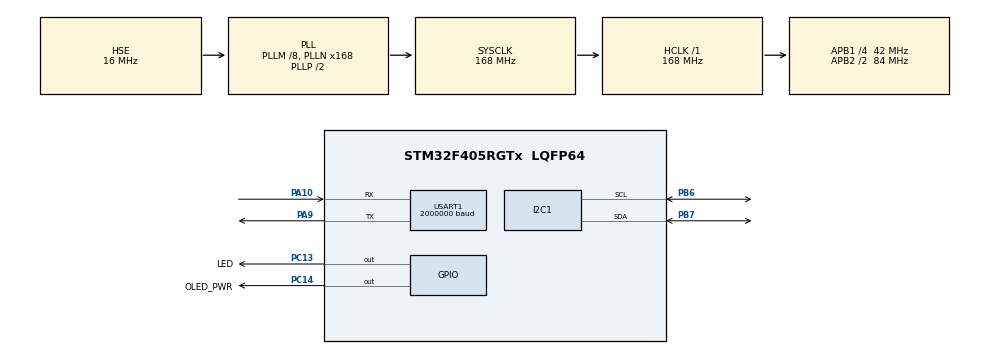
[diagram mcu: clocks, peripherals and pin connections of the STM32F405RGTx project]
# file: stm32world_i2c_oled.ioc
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Dma.I2C1_TX.0.Direction=DMA_MEMORY_TO_PERIPH
Dma.I2C1_TX.0.FIFOMode=DMA_FIFOMODE_DISABLE
Dma.I2C1_TX.0.Instance=DMA1_Stream6
Dma.I2C1_TX.0.MemDataAlignment=DMA_MDATAALIGN_BYTE
Dma.I2C1_TX.0.MemInc=DMA_MINC_ENABLE
Dma.I2C1_TX.0.Mode=DMA_NORMAL
Dma.I2C1_TX.0.PeriphDataAlignment=DMA_PDATAALIGN_BYTE
Dma.I2C1_TX.0.PeriphInc=DMA_PINC_DISABLE
Dma.I2C1_TX.0.Priority=DMA_PRIORITY_LOW
Dma.Request0=I2C1_TX
I2C1.I2C_Mode=I2C_Fast
Mcu.Family=STM32F4
Mcu.Name=STM32F405RGTx
Mcu.Package=LQFP64
NVIC.DMA1_Stream6_IRQn=true\:0\:0\:false\:false\:true\:false\:true\:true
NVIC.I2C1_EV_IRQn=true\:0\:0\:false\:false\:true\:true\:true\:true
NVIC.PriorityGroup=NVIC_PRIORITYGROUP_4
PA10.Mode=Asynchronous
PA10.Signal=USART1_RX
PA13.Mode=Trace_Asynchronous_SW
PA13.Signal=SYS_JTMS-SWDIO
PA14.Mode=Trace_Asynchronous_SW
PA14.Signal=SYS_JTCK-SWCLK
PA9.Mode=Asynchronous
PA9.Signal=USART1_TX
PB3.Mode=Trace_Asynchronous_SW
PB3.Signal=SYS_JTDO-SWO
PB6.GPIO_Pu=GPIO_PULLUP
PB6.Mode=I2C
PB6.Signal=I2C1_SCL
PB7.GPIO_Pu=GPIO_PULLUP
PB7.Mode=I2C
PB7.Signal=I2C1_SDA
PC13-ANTI_TAMP.GPIO_Label=LED
PC13-ANTI_TAMP.GPIO_ModeDefaultOutputPP=GPIO_MODE_OUTPUT_OD
PC13-ANTI_TAMP.GPIO_PuPd=GPIO_NOPULL
PC13-ANTI_TAMP.PinState=GPIO_PIN_SET
PC13-ANTI_TAMP.Signal=GPIO_Output
PC14-OSC32_IN.GPIO_Label=OLED_PWR
PC14-OSC32_IN.PinState=GPIO_PIN_RESET
PC14-OSC32_IN.Signal=GPIO_Output
PH0-OSC_IN.Mode=HSE-External-Oscillator
PH0-OSC_IN.Signal=RCC_OSC_IN
PH1-OSC_OUT.Mode=HSE-External-Oscillator
PH1-OSC_OUT.Signal=RCC_OSC_OUT
ProjectManager.HeapSize=0x200
ProjectManager.StackSize=0x400
ProjectManager.TargetToolchain=STM32CubeIDE
RCC.48MHZClocksFreq_Value=84000000
RCC.AHBFreq_Value=168000000
RCC.APB1CLKDivider=RCC_HCLK_DIV4
RCC.APB1Freq_Value=42000000
RCC.APB1TimFreq_Value=84000000
RCC.APB2CLKDivider=RCC_HCLK_DIV2
RCC.APB2Freq_Value=84000000
RCC.APB2TimFreq_Value=168000000
RCC.CortexFreq_Value=168000000
RCC.HCLKFreq_Value=168000000
RCC.HSE_VALUE=16000000
RCC.HSI_VALUE=16000000
RCC.LSE_VALUE=32768
RCC.PLLM=8
RCC.PLLN=168
RCC.PLLSourceVirtual=RCC_PLLSOURCE_HSE
RCC.SYSCLKFreq_VALUE=168000000
RCC.SYSCLKSource=RCC_SYSCLKSOURCE_PLLCLK
RCC.VCOOutputFreq_Value=336000000
USART1.BaudRate=2000000
USART1.VirtualMode=VM_ASYNC
board=custom

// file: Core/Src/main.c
/* USER CODE BEGIN Header */
/**
 ******************************************************************************
 * @file           : main.c
 * @brief          : Main program body
 ******************************************************************************
 * @attention
 *
 * Copyright (c) 2025 Lars Boegild Thomsen <lth@stm32world.com>
 * All rights reserved.
 *
 * This software is licensed under terms that can be found in the LICENSE file
 * in the root directory of this software component.
 * If no LICENSE file comes with this software, it is provided AS-IS.
 *
 ******************************************************************************
 */
/* USER CODE END Header */
#include "main.h"

/* USER CODE BEGIN Includes */
#include <stdio.h>

#include "ssd1306.h"
#include "image.h"

/* USER CODE END Includes */

I2C_HandleTypeDef hi2c1;
DMA_HandleTypeDef hdma_i2c1_tx;

UART_HandleTypeDef huart1;

/* USER CODE BEGIN PV */
extern const unsigned char stm32fan[];
extern uint8_t SSD1306_Buffer[SSD1306_BUFFER_SIZE];
/* USER CODE END PV */

void SystemClock_Config(void);
static void MX_GPIO_Init(void);
static void MX_DMA_Init(void);
static void MX_I2C1_Init(void);
static void MX_USART1_UART_Init(void);

/* USER CODE BEGIN 0 */

// Send printf to uart1
int _write(int fd, char *ptr, int len) {
    HAL_StatusTypeDef hstatus;

    if (fd == 1 || fd == 2) {
        hstatus = HAL_UART_Transmit(&huart1, (uint8_t*) ptr, len, HAL_MAX_DELAY);
        if (hstatus == HAL_OK)
            return len;
        else
            return -1;
    }
    return -1;
}

// Shift whole screen left 1 pixel
void ssd1306_ShiftLeft() {

    uint8_t pages = SSD1306_HEIGHT / 8;

    for (uint8_t page = 0; page < pages; ++page) {
        for (uint8_t column = 0; column < SSD1306_WIDTH - 1; ++column) {
            SSD1306_Buffer[page * SSD1306_WIDTH + column] = SSD1306_Buffer[page * SSD1306_WIDTH + column + 1];
        }
        SSD1306_Buffer[page * SSD1306_WIDTH + SSD1306_WIDTH - 1] = Black;
    }

}

void drawLines()
{
    for (int16_t i = 0; i < ssd1306_GetWidth(); i += 4)
            {
        ssd1306_DrawLine(0, 0, i, ssd1306_GetHeight() - 1);
        ssd1306_UpdateScreen();
        HAL_Delay(10);
    }
    for (int16_t i = 0; i < ssd1306_GetHeight(); i += 4)
            {
        ssd1306_DrawLine(0, 0, ssd1306_GetWidth() - 1, i);
        ssd1306_UpdateScreen();
        HAL_Delay(10);
    }
    HAL_Delay(500);

    ssd1306_Clear();
    for (int16_t i = 0; i < ssd1306_GetWidth(); i += 4)
            {
        ssd1306_DrawLine(0, ssd1306_GetHeight() - 1, i, 0);
        ssd1306_UpdateScreen();
        HAL_Delay(10);
    }
    for (int16_t i = ssd1306_GetHeight() - 1; i >= 0; i -= 4)
            {
        ssd1306_DrawLine(0, ssd1306_GetHeight() - 1, ssd1306_GetWidth() - 1, i);
        ssd1306_UpdateScreen();
        HAL_Delay(10);
    }
    HAL_Delay(500);
    ssd1306_Clear();
    for (int16_t i = ssd1306_GetWidth() - 1; i >= 0; i -= 4)
            {
        ssd1306_DrawLine(ssd1306_GetWidth() - 1, ssd1306_GetHeight() - 1, i, 0);
        ssd1306_UpdateScreen();
        HAL_Delay(10);
    }
    for (int16_t i = ssd1306_GetHeight() - 1; i >= 0; i -= 4)
            {
        ssd1306_DrawLine(ssd1306_GetWidth() - 1, ssd1306_GetHeight() - 1, 0, i);
        ssd1306_UpdateScreen();
        HAL_Delay(10);
    }
    HAL_Delay(500);
    ssd1306_Clear();
    for (int16_t i = 0; i < ssd1306_GetHeight(); i += 4)
            {
        ssd1306_DrawLine(ssd1306_GetWidth() - 1, 0, 0, i);
        ssd1306_UpdateScreen();
        HAL_Delay(10);
    }
    for (int16_t i = ssd1306_GetWidth(); i >= 0; i -= 4)
            {
        ssd1306_DrawLine(ssd1306_GetWidth() - 1, 0, i, ssd1306_GetHeight() - 1);
        ssd1306_UpdateScreen();
        HAL_Delay(10);
    }
    HAL_Delay(500);
}

// Adapted from Adafruit_SSD1306
void drawRect(void)
{
    for (int16_t i = 0; i < ssd1306_GetHeight() / 2; i += 2)
            {
        ssd1306_DrawRect(i, i, ssd1306_GetWidth() - 2 * i, ssd1306_GetHeight() - 2 * i);
        ssd1306_UpdateScreen();
        HAL_Delay(10);
    }
}

// Adapted from Adafruit_SSD1306
void fillRect(void) {
    uint8_t color = 1;
    for (int16_t i = 0; i < ssd1306_GetHeight() / 2; i += 3)
            {
        ssd1306_SetColor((color % 2 == 0) ? Black : White); // alternate colors
        ssd1306_FillRect(i, i, ssd1306_GetWidth() - i * 2, ssd1306_GetHeight() - i * 2);
        ssd1306_UpdateScreen();
        HAL_Delay(10);
        color++;
    }
    // Reset back to WHITE
    ssd1306_SetColor(White);
}

// Adapted from Adafruit_SSD1306
void drawCircle(void)
{
    for (int16_t i = 0; i < ssd1306_GetHeight(); i += 4)
            {
        ssd1306_DrawCircle(ssd1306_GetWidth() / 2, ssd1306_GetHeight() / 2, i);
        ssd1306_UpdateScreen();
        HAL_Delay(10);
    }
    HAL_Delay(1000);
    ssd1306_Clear();

    // This will draw the part of the circel in quadrant 1
    // Quadrants are numberd like this:
    //   0010 | 0001
    //  ------|-----
    //   0100 | 1000
    //
    ssd1306_DrawCircleQuads(ssd1306_GetWidth() / 2, ssd1306_GetHeight() / 2, ssd1306_GetHeight() / 4, 0x01 /*0b00000001*/);
    ssd1306_UpdateScreen();
    HAL_Delay(200);
    ssd1306_DrawCircleQuads(ssd1306_GetWidth() / 2, ssd1306_GetHeight() / 2, ssd1306_GetHeight() / 4, 0x03 /*0b00000011*/);
    ssd1306_UpdateScreen();
    HAL_Delay(200);
    ssd1306_DrawCircleQuads(ssd1306_GetWidth() / 2, ssd1306_GetHeight() / 2, ssd1306_GetHeight() / 4, 0x07 /*0b00000111*/);
    ssd1306_UpdateScreen();
    HAL_Delay(200);
    ssd1306_DrawCircleQuads(ssd1306_GetWidth() / 2, ssd1306_GetHeight() / 2, ssd1306_GetHeight() / 4, 0x0F /*0b00001111*/);
    ssd1306_UpdateScreen();
}

void drawProgressBarDemo(int counter)
{
    char str[128];
    // draw the progress bar
    ssd1306_DrawProgressBar(0, 32, 120, 10, counter);

    // draw the percentage as String
    ssd1306_SetCursor(55, 15);
    sprintf(str, "%i%%", counter);
    ssd1306_WriteString(str, Font_7x10);
    ssd1306_UpdateScreen();
}

/* USER CODE END 0 */

int main(void)
{

    /* MCU Configuration--------------------------------------------------------*/

    /* Reset of all peripherals, Initializes the Flash interface and the Systick. */
    HAL_Init();

    /* Configure the system clock */
    SystemClock_Config();

    /* Initialize all configured peripherals */
    MX_GPIO_Init();
    MX_DMA_Init();
    MX_I2C1_Init();
    MX_USART1_UART_Init();
    /* USER CODE BEGIN 2 */

    printf("\n\n\n--------\nStarting\n");

    // Switch power off for 100 ms
    HAL_GPIO_WritePin(OLED_PWR_GPIO_Port, OLED_PWR_Pin, GPIO_PIN_RESET);
    HAL_Delay(100);
    HAL_GPIO_WritePin(OLED_PWR_GPIO_Port, OLED_PWR_Pin, GPIO_PIN_SET);
    HAL_Delay(200);

    printf("Scan i2c1\n");
    // Go through all possible i2c addresses
    for (uint8_t i = 0; i < 128; i++) {

        if (HAL_I2C_IsDeviceReady(&hi2c1, (uint16_t) (i << 1), 3, 5) == HAL_OK) {
            // We got an ack
            printf("%2x ", i);
        } else {
            printf("-- ");
        }

        if (i > 0 && (i + 1) % 16 == 0)
            printf("\n");

    }

    printf("\n");

    // Init lcd using one of the stm32HAL i2c typedefs
//    if (ssd1306_init(&ssd1306, &hi2c1, SSD1306_DEFAULT_ADDR) != SSD1306_Ok) {
//        printf("Unable to initialize ssd1306 - halting\n");
//        Error_Handler();
//    }

    ssd1306_Init();
    ssd1306_FlipScreenVertically();
    ssd1306_Clear();
    ssd1306_SetColor(White);

    //ssd1306_TestAll();

    /* USER CODE END 2 */

    /* Infinite loop */
    /* USER CODE BEGIN WHILE */

    //uint32_t now, next_blink = 500;
    while (1) {

        ssd1306_Clear();
        ssd1306_DrawBitmap(0, 0, 128, 64, stm32fan);
        ssd1306_UpdateScreen();
        HAL_Delay(500);

        for (int i = 0; i < 128; ++i) {
            //uint32_t start = uwTick;
            ssd1306_ShiftLeft();
            ssd1306_UpdateScreen();
            //printf("LShift t = %lu\n", uwTick - start);
            HAL_Delay(5);
        }

        drawLines();
        HAL_Delay(500);
        ssd1306_Clear();

        drawRect();
        HAL_Delay(1000);
        ssd1306_Clear();

        fillRect();
        HAL_Delay(1000);
        ssd1306_Clear();

        drawCircle();
        HAL_Delay(1000);
        ssd1306_Clear();

        for (int i = 0; i < 100; i++)
                {
            drawProgressBarDemo(i);
            HAL_Delay(25);
            while (!ssd1306_UpdateScreenCompleted())
                ;
            ssd1306_Clear();
        }

        ssd1306_DrawRect(0, 0, ssd1306_GetWidth(), ssd1306_GetHeight());
        ssd1306_SetCursor(8, 20);
        ssd1306_WriteString("SSD1306", Font_16x26);
        ssd1306_UpdateScreen();
        HAL_Delay(2000);
        ssd1306_Clear();
        ssd1306_DrawBitmap(0, 0, 128, 64, stm32fan);
        ssd1306_UpdateScreen();
        HAL_Delay(2000);
        ssd1306_InvertDisplay();
        HAL_Delay(2000);
        ssd1306_NormalDisplay();
        ssd1306_Clear();

        /* USER CODE END WHILE */

    }
}

void SystemClock_Config(void)
{
    RCC_OscInitTypeDef RCC_OscInitStruct = { 0 };
    RCC_ClkInitTypeDef RCC_ClkInitStruct = { 0 };

    /** Configure the main internal regulator output voltage
     */
    __HAL_RCC_PWR_CLK_ENABLE();
    __HAL_PWR_VOLTAGESCALING_CONFIG(PWR_REGULATOR_VOLTAGE_SCALE1);

    /** Initializes the RCC Oscillators according to the specified parameters
     * in the RCC_OscInitTypeDef structure.
     */
    RCC_OscInitStruct.OscillatorType = RCC_OSCILLATORTYPE_HSE;
    RCC_OscInitStruct.HSEState = RCC_HSE_ON;
    RCC_OscInitStruct.PLL.PLLState = RCC_PLL_ON;
    RCC_OscInitStruct.PLL.PLLSource = RCC_PLLSOURCE_HSE;
    RCC_OscInitStruct.PLL.PLLM = 8;
    RCC_OscInitStruct.PLL.PLLN = 168;
    RCC_OscInitStruct.PLL.PLLP = RCC_PLLP_DIV2;
    RCC_OscInitStruct.PLL.PLLQ = 4;
    if (HAL_RCC_OscConfig(&RCC_OscInitStruct) != HAL_OK)
            {
        Error_Handler();
    }

    /** Initializes the CPU, AHB and APB buses clocks
     */
    RCC_ClkInitStruct.ClockType = RCC_CLOCKTYPE_HCLK | RCC_CLOCKTYPE_SYSCLK
            | RCC_CLOCKTYPE_PCLK1 | RCC_CLOCKTYPE_PCLK2;
    RCC_ClkInitStruct.SYSCLKSource = RCC_SYSCLKSOURCE_PLLCLK;
    RCC_ClkInitStruct.AHBCLKDivider = RCC_SYSCLK_DIV1;
    RCC_ClkInitStruct.APB1CLKDivider = RCC_HCLK_DIV4;
    RCC_ClkInitStruct.APB2CLKDivider = RCC_HCLK_DIV2;

    if (HAL_RCC_ClockConfig(&RCC_ClkInitStruct, FLASH_LATENCY_5) != HAL_OK)
            {
        Error_Handler();
    }
}

static void MX_I2C1_Init(void)
{

    hi2c1.Instance = I2C1;
    hi2c1.Init.ClockSpeed = 400000;
    hi2c1.Init.DutyCycle = I2C_DUTYCYCLE_2;
    hi2c1.Init.OwnAddress1 = 0;
    hi2c1.Init.AddressingMode = I2C_ADDRESSINGMODE_7BIT;
    hi2c1.Init.DualAddressMode = I2C_DUALADDRESS_DISABLE;
    hi2c1.Init.OwnAddress2 = 0;
    hi2c1.Init.GeneralCallMode = I2C_GENERALCALL_DISABLE;
    hi2c1.Init.NoStretchMode = I2C_NOSTRETCH_DISABLE;
    if (HAL_I2C_Init(&hi2c1) != HAL_OK)
            {
        Error_Handler();
    }

}

static void MX_USART1_UART_Init(void)
{

    huart1.Instance = USART1;
    huart1.Init.BaudRate = 2000000;
    huart1.Init.WordLength = UART_WORDLENGTH_8B;
    huart1.Init.StopBits = UART_STOPBITS_1;
    huart1.Init.Parity = UART_PARITY_NONE;
    huart1.Init.Mode = UART_MODE_TX_RX;
    huart1.Init.HwFlowCtl = UART_HWCONTROL_NONE;
    huart1.Init.OverSampling = UART_OVERSAMPLING_16;
    if (HAL_UART_Init(&huart1) != HAL_OK)
            {
        Error_Handler();
    }

}

static void MX_DMA_Init(void)
{

    /* DMA controller clock enable */
    __HAL_RCC_DMA1_CLK_ENABLE();

    /* DMA interrupt init */
    /* DMA1_Stream6_IRQn interrupt configuration */
    HAL_NVIC_SetPriority(DMA1_Stream6_IRQn, 0, 0);
    HAL_NVIC_EnableIRQ(DMA1_Stream6_IRQn);

}

static void MX_GPIO_Init(void)
{
    GPIO_InitTypeDef GPIO_InitStruct = { 0 };

    /* GPIO Ports Clock Enable */
    __HAL_RCC_GPIOC_CLK_ENABLE();
    __HAL_RCC_GPIOH_CLK_ENABLE();
    __HAL_RCC_GPIOA_CLK_ENABLE();
    __HAL_RCC_GPIOB_CLK_ENABLE();

    /*Configure GPIO pin Output Level */
    HAL_GPIO_WritePin(LED_GPIO_Port, LED_Pin, GPIO_PIN_SET);

    /*Configure GPIO pin Output Level */
    HAL_GPIO_WritePin(OLED_PWR_GPIO_Port, OLED_PWR_Pin, GPIO_PIN_RESET);

    /*Configure GPIO pin : LED_Pin */
    GPIO_InitStruct.Pin = LED_Pin;
    GPIO_InitStruct.Mode = GPIO_MODE_OUTPUT_OD;
    GPIO_InitStruct.Pull = GPIO_NOPULL;
    GPIO_InitStruct.Speed = GPIO_SPEED_FREQ_LOW;
    HAL_GPIO_Init(LED_GPIO_Port, &GPIO_InitStruct);

    /*Configure GPIO pin : OLED_PWR_Pin */
    GPIO_InitStruct.Pin = OLED_PWR_Pin;
    GPIO_InitStruct.Mode = GPIO_MODE_OUTPUT_PP;
    GPIO_InitStruct.Pull = GPIO_NOPULL;
    GPIO_InitStruct.Speed = GPIO_SPEED_FREQ_LOW;
    HAL_GPIO_Init(OLED_PWR_GPIO_Port, &GPIO_InitStruct);

}

void Error_Handler(void)
{
    __disable_irq();
    while (1)
    {
    }
}
